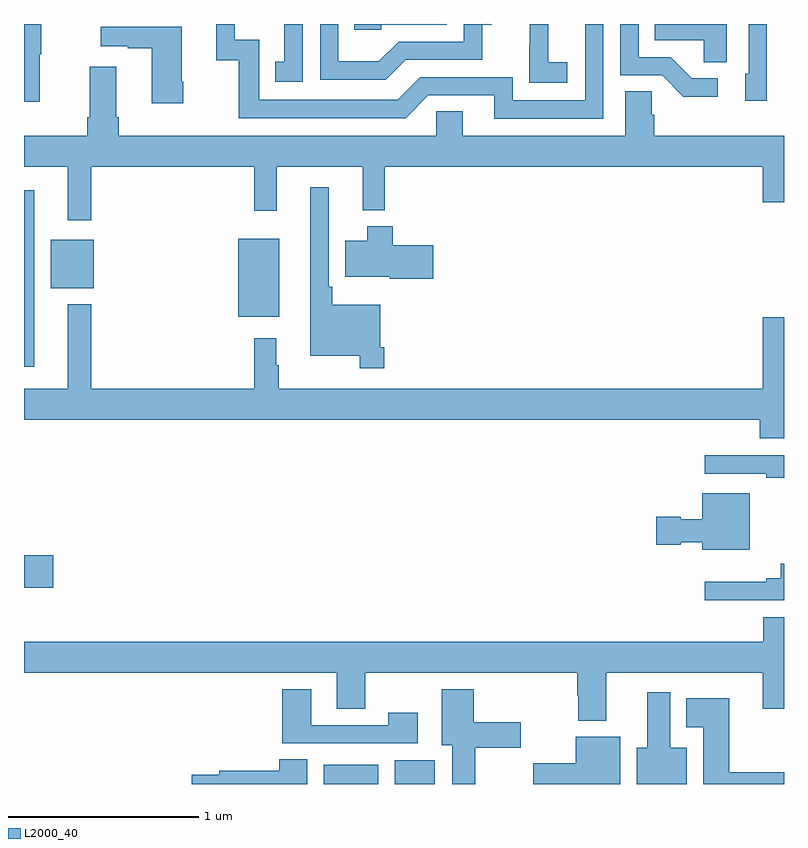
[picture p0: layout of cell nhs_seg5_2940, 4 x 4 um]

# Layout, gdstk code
import gdstk
lib = gdstk.Library(unit=1e-6, precision=1e-09)
def R(c, l, rs):  # rectangles x0, y0, x1, y1
    for r in rs: c.add(gdstk.rectangle(r[:2], r[2:], *l))
def P(c, l, *ps):  # polygons
    for p in ps: c.add(gdstk.Polygon(p, *l))
L2000_40 = (2000, 40)

nhs_seg5_2940 = lib.new_cell('nhs_seg5_2940')
R(nhs_seg5_2940, L2000_40, [(282.578,898.799,282.865,898.9), (282.95,898.799,283.162,898.924), (281,899.831,281.155,900.002), (281,900.995,281.053,901.924), (282.128,901.259,282.343,901.669), (281.141,901.409,281.368,901.663)])
P(nhs_seg5_2940, L2000_40, [(284.049,902.799),(283.953,902.799),(283.953,902.397),(283.572,902.397),(283.572,902.52),(283.086,902.52),(282.966,902.4),(282.237,902.4),(282.237,902.715),(282.108,902.715),(282.108,902.799),(282.011,902.799),(282.011,902.607),(282.129,902.607),(282.129,902.304),(283.008,902.304),(283.128,902.424),(283.475,902.424),(283.475,902.301),(284.049,902.301)],
  [(281.084,902.64),(281.092,902.64),(281.092,902.799),(281,902.799),(281,902.391),(281.084,902.391)],
  [(282.468,902.799),(282.371,902.799),(282.371,902.601),(282.322,902.601),(282.322,902.496),(282.468,902.496)],
  [(283.009,902.61),(283.413,902.61),(283.413,902.795),(283.462,902.795),(283.462,902.799),(283.314,902.799),(283.314,902.706),(282.972,902.706),(282.868,902.602),(282.654,902.602),(282.654,902.799),(282.558,902.799),(282.558,902.505),(282.904,902.505)],
  [(283.858,902.599),(283.76,902.599),(283.76,902.799),(283.661,902.799),(283.661,902.695),(283.66,902.695),(283.66,902.489),(283.858,902.489)],
  [(282.879,902.796),(283.224,902.796),(283.224,902.799),(282.739,902.799),(282.739,902.769),(282.879,902.769)],
  [(284.698,902.799),(284.32,902.799),(284.32,902.714),(284.577,902.714),(284.577,902.599),(284.698,902.599)],
  [(284.91,902.799),(284.814,902.799),(284.814,902.538),(284.795,902.538),(284.795,902.394),(284.91,902.394)],
  [(284.65,902.514),(284.515,902.514),(284.404,902.625),(284.235,902.625),(284.235,902.799),(284.139,902.799),(284.139,902.529),(284.358,902.529),(284.471,902.417),(284.65,902.417)],
  [(281.838,902.494),(281.83,902.494),(281.83,902.785),(281.403,902.785),(281.403,902.681),(281.546,902.681),(281.546,902.671),(281.672,902.671),(281.672,902.382),(281.838,902.382)],
  [(281.353,902.048),(282.211,902.048),(282.211,901.815),(282.329,901.815),(282.329,902.048),(282.782,902.048),(282.782,901.82),(282.899,901.82),(282.899,902.048),(284.888,902.048),(284.888,901.86),(285,901.86),(285,902.212),(284.318,902.212),(284.318,902.321),(284.304,902.321),(284.304,902.444),(284.165,902.444),(284.165,902.212),(283.309,902.212),(283.309,902.339),(283.17,902.339),(283.17,902.212),(281.498,902.212),(281.498,902.308),(281.485,902.308),(281.485,902.575),(281.345,902.575),(281.345,902.308),(281.333,902.308),(281.333,902.212),(281,902.212),(281,902.048),(281.231,902.048),(281.231,901.767),(281.353,901.767)],
  [(282.896,901.099),(282.876,901.099),(282.876,901.321),(282.623,901.321),(282.623,901.417),(282.603,901.417),(282.603,901.939),(282.506,901.939),(282.506,901.052),(282.768,901.052),(282.768,900.987),(282.896,900.987)],
  [(283.153,901.635),(282.941,901.635),(282.941,901.735),(282.806,901.735),(282.806,901.657),(282.692,901.657),(282.692,901.469),(282.924,901.469),(282.924,901.457),(283.153,901.457)],
  [(285,901.255),(284.888,901.255),(284.888,900.88),(282.34,900.88),(282.34,901.004),(282.328,901.004),(282.328,901.144),(282.211,901.144),(282.211,900.88),(281.353,900.88),(281.353,901.324),(281.231,901.324),(281.231,900.88),(281,900.88),(281,900.716),(284.873,900.716),(284.873,900.618),(285,900.618)],
  [(285,900.528),(284.829,900.528),(284.829,900.53),(284.583,900.53),(284.583,900.432),(284.906,900.432),(284.906,900.412),(285,900.412)],
  [(284.821,900.328),(284.57,900.328),(284.57,900.193),(284.457,900.193),(284.457,900.206),(284.328,900.206),(284.328,900.059),(284.457,900.059),(284.457,900.071),(284.57,900.071),(284.57,900.032),(284.821,900.032)],
  [(284.795,899.766),(285,899.766),(285,899.959),(284.983,899.959),(284.983,899.882),(284.906,899.882),(284.906,899.863),(284.583,899.863),(284.583,899.765),(284.795,899.765)],
  [(284.065,899.384),(284.888,899.384),(284.888,899.196),(285,899.196),(285,899.677),(284.891,899.677),(284.891,899.548),(281,899.548),(281,899.384),(282.647,899.384),(282.647,899.194),(282.795,899.194),(282.795,899.384),(283.913,899.384),(283.913,899.264),(283.918,899.264),(283.918,899.132),(284.065,899.132)],
  [(283.072,899.173),(282.916,899.173),(282.916,899.109),(282.511,899.109),(282.511,899.299),(282.359,899.299),(282.359,899.013),(283.072,899.013)],
  [(283.374,898.991),(283.615,898.991),(283.615,899.125),(283.366,899.125),(283.366,899.299),(283.199,899.299),(283.199,899.003),(283.253,899.003),(283.253,898.799),(283.374,898.799)],
  [(284.488,898.99),(284.401,898.99),(284.401,899.281),(284.279,899.281),(284.279,898.99),(284.225,898.99),(284.225,898.799),(284.488,898.799)],
  [(285,898.861),(284.711,898.861),(284.711,899.251),(284.486,899.251),(284.486,899.099),(284.576,899.099),(284.576,898.799),(285,898.799)],
  [(284.137,899.047),(283.904,899.047),(283.904,898.908),(283.68,898.908),(283.68,898.799),(284.137,898.799)],
  [(282.49,898.928),(282.344,898.928),(282.344,898.868),(282.028,898.868),(282.028,898.848),(281.882,898.848),(281.882,898.799),(282.49,898.799)])

lib.write_gds('nhs_seg5_2940.gds')
